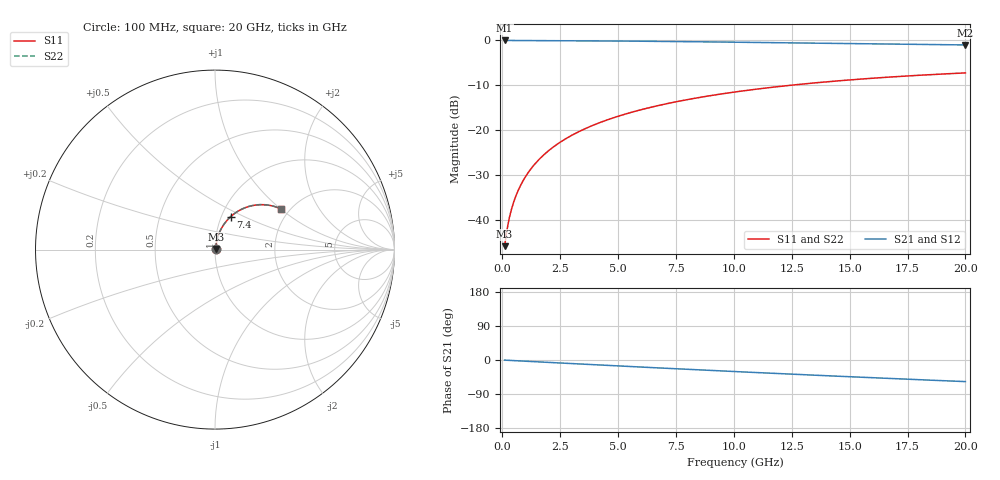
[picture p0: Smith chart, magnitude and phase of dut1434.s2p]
! Touchstone file exported from HFSS 2026.1.0
!  File:  C:/ffzhzh/LocalFiles/Ansys_Project_Files/temp_train_BSMRDL_1434_1783180431_43440.aedt
!  Generated:  11:55:15 PM Jul  4, 2026
!  Design:  BSMRDL
!  Project:  temp_train_BSMRDL_1434_1783180431_43440
! Variables:
!  h_bsmrdl = 3.65um
!  h_ox = 20um
!  h_rdl = 5um
!  h_sub = 80um
!  h_tmrdl = 5um
!  h_tsv = 80um
!  h_via = 3um
!  l_bsmrdl = 905.82um
!  l_sub = 1305.82um
!  l_tmrdl = 200um
!  m_sub = 200um
!  pitch = 47.94um
!  r_tsv = 6um
!  s_tmrdl = 10um
!  w_bsmrdl = 24.19um
!  w_sub = 500um
!  w_tmrdl = 12um
!  x_tsv_center1 = 206um
!  x_tsv_center2 = 1136.01um
!  x_tsv_center3 = 1348.01um
!  x_tsv_center4 = 2278.02um
!  x_tsv_center5 = 2490.02um
!  x_tsv_center6 = 3420.03um
# GHz S MA R 50.000000
! Terminal data exported
! Port[1] = BSM_RDL1_1_T1
! Port[2] = BSM_RDL1_1_T2
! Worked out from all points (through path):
!   200 points, 100 MHz to 20 GHz, reference 50 ohm
!   highest |S21| = -0.03 dB at 100 MHz (marker M1); lowest = -1.0 dB at 20 GHz (marker M2)
!   group delay of S21, straight-line fit = 7.92 ps
!   lowest |S11| = -45.9 dB at 100 MHz (marker M3), VSWR 1.01, Z = 50.4 + j0.33 ohm
!   |S11| at or under -10 dB: start of sweep to 12.5 GHz
!   |S22| runs from -45.9 to -7.3 dB; largest |S21 - S12| = 3.2e-15
!   S11 on the Smith chart (normalised r, x): 100 MHz: 1.01, +0.01; 7.4 GHz: 1.11, +0.42; 20 GHz: 1.82, +1.00
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0.1  0.005065 40.3  0.9962 -0.3  0.9962 -0.3  0.005065 40.3
! Gamma 0 0 0 0
! Port Impedance 50 0 50 0
0.2  0.007634 57.0  0.9959 -0.7  0.9959 -0.7  0.007634 57.0
0.3  0.0104 64.4  0.9956 -1.0  0.9956 -1.0  0.0104 64.4
0.4  0.01317 68.6  0.9954 -1.3  0.9954 -1.3  0.01317 68.6
0.5  0.01596 71.4  0.9952 -1.6  0.9952 -1.6  0.01596 71.4
0.6  0.01876 73.3  0.9951 -1.9  0.9951 -1.9  0.01876 73.3
0.8  0.0244 75.8  0.9948 -2.6  0.9948 -2.6  0.0244 75.8
1.1  0.03296 77.6  0.9944 -3.5  0.9944 -3.5  0.03296 77.6
1.3  0.03869 78.2  0.9941 -4.1  0.9941 -4.1  0.03869 78.2
1.6  0.04731 78.5  0.9936 -5.1  0.9936 -5.1  0.04731 78.5
2.1  0.06165 78.1  0.9925 -6.6  0.9925 -6.6  0.06165 78.2
2.7  0.07875 77.1  0.9909 -8.5  0.9909 -8.5  0.07875 77.1
3.5  0.1012 75.3  0.9883 -11.0  0.9883 -11.0  0.1012 75.3
4.2  0.1206 73.4  0.9856 -13.2  0.9856 -13.2  0.1206 73.5
5  0.1422 71.2  0.9821 -15.6  0.9821 -15.6  0.1422 71.3
6.8  0.1889 66.2  0.9729 -21.0  0.9729 -21.0  0.1889 66.2
7.4  0.2038 64.5  0.9694 -22.8  0.9694 -22.8  0.2038 64.5
8.7  0.2349 60.8  0.9616 -26.6  0.9616 -26.6  0.2349 60.9
10.1  0.2666 56.9  0.9526 -30.7  0.9526 -30.7  0.2666 57.0
13.4  0.3333 48.0  0.9304 -39.9  0.9304 -39.9  0.3333 48.1
16.7  0.3887 39.5  0.9082 -48.6  0.9082 -48.6  0.3887 39.6
20  0.4329 31.3  0.888 -57.0  0.888 -57.0  0.4329 31.4
